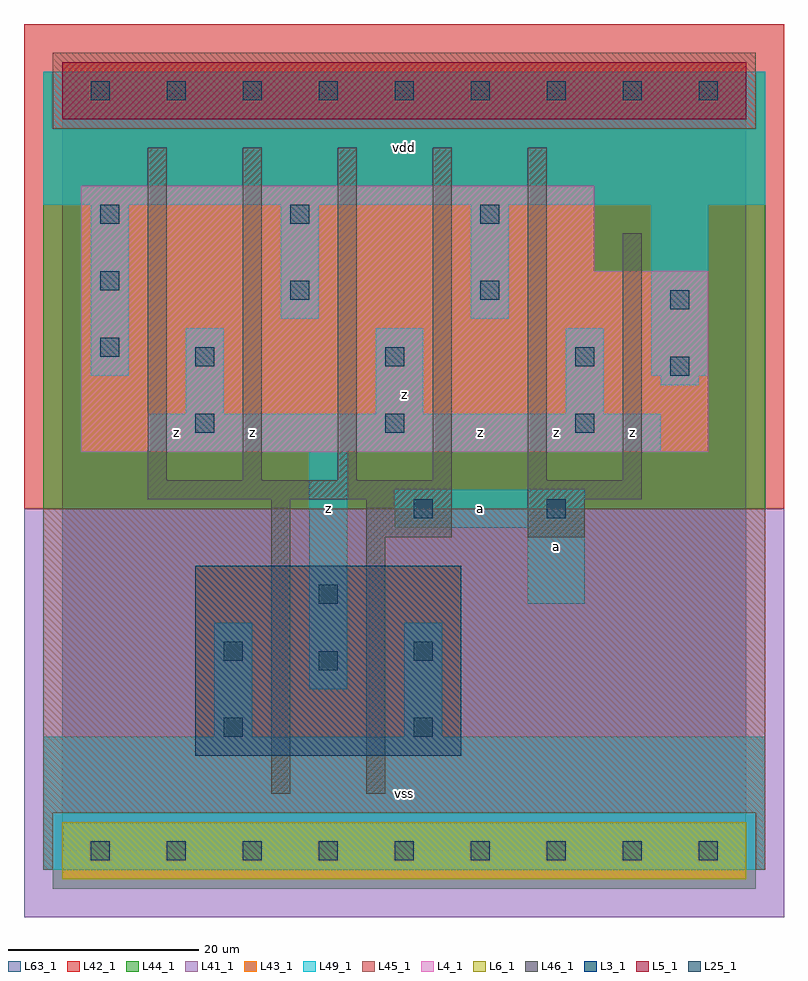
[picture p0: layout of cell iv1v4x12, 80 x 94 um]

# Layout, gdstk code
import gdstk
lib = gdstk.Library(unit=1e-6, precision=1e-09)
def R(c, l, rs):  # rectangles x0, y0, x1, y1
    for r in rs: c.add(gdstk.rectangle(r[:2], r[2:], *l))
def A(c, l, x, y, w, h, nx, ny, dx, dy):  # array of equal rectangles
    R(c, l, [(x+i*dx, y+j*dy, x+i*dx+w, y+j*dy+h) for i in range(nx) for j in range(ny)])
L3_1 = (3, 1)
L4_1 = (4, 1)
L5_1 = (5, 1)
L6_1 = (6, 1)
L25_1 = (25, 1)
L41_1 = (41, 1)
L42_1 = (42, 1)
L43_1 = (43, 1)
L44_1 = (44, 1)
L45_1 = (45, 1)
L46_1 = (46, 1)
L49_1 = (49, 1)
L63_1 = (63, 1)

iv1v4x12 = lib.new_cell('iv1v4x12')
R(iv1v4x12, L3_1, [(14,10,42,30)])
R(iv1v4x12, L4_1, [(2,42,68,61), (2,61,56,70)])
R(iv1v4x12, L5_1, [(0,77,72,83)])
R(iv1v4x12, L6_1, [(0,-3,72,3), (0,-3,72,3)])
A(iv1v4x12, L25_1, 3, -1, 2, 2, 9, 2, 8, 80)
A(iv1v4x12, L25_1, 14, 44, 2, 2, 3, 2, 20, 7)
A(iv1v4x12, L25_1, 4, 66, 2, 2, 3, 1, 20, 0)
R(iv1v4x12, L25_1, [(17,12,19,14), (37,12,39,14), (27,19,29,21), (17,20,19,22), (37,20,39,22), (27,26,29,28), (37,35,39,37), (51,35,53,37), (64,50,66,52), (4,52,6,54), (64,57,66,59), (24,58,26,60), (44,58,46,60), (4,59,6,61)])
R(iv1v4x12, L41_1, [(-4,-7,76,36)])
R(iv1v4x12, L42_1, [(-4,36,76,87)])
R(iv1v4x12, L43_1, [(0,-3,72,3), (14,10,42,30), (2,42,68,61), (2,61,56,70), (0,77,72,83)])
R(iv1v4x12, L44_1, [(-1,-4,73,4), (-2,36,74,76), (-2,76,-1,82), (73,76,74,82)])
R(iv1v4x12, L45_1, [(-2,-2,-1,4), (73,-2,74,4), (-2,4,74,36), (-1,76,73,84)])
A(iv1v4x12, L46_1, 9, 39, 2, 35, 5, 1, 10, 0)
R(iv1v4x12, L46_1, [(22,6,24,37), (32,6,34,33), (32,33,41,37), (49,33,55,37), (9,37,41,39), (49,37,61,39), (59,39,61,65)])
R(iv1v4x12, L49_1, [(-2,-2,74,12), (16,12,20,24), (36,12,40,24), (26,17,30,42), (49,26,55,34), (35,34,55,38), (9,42,63,46), (13,46,17,55), (33,46,38,55), (53,46,57,55), (63,49,67,50), (3,50,7,68), (62,50,68,68), (23,56,27,68), (43,56,47,68), (-2,68,74,82)])
R(iv1v4x12, L63_1, [(0,0,72,80)])
iv1v4x12.add(gdstk.Label('z', (12,44), layer=49, texttype=1))
iv1v4x12.add(gdstk.Label('z', (28,36), layer=49, texttype=1))
iv1v4x12.add(gdstk.Label('z', (20,44), layer=49, texttype=1))
iv1v4x12.add(gdstk.Label('vss', (36,6), layer=49, texttype=1))
iv1v4x12.add(gdstk.Label('a', (44,36), layer=49, texttype=1))
iv1v4x12.add(gdstk.Label('a', (52,32), layer=49, texttype=1))
iv1v4x12.add(gdstk.Label('z', (44,44), layer=49, texttype=1))
iv1v4x12.add(gdstk.Label('z', (52,44), layer=49, texttype=1))
iv1v4x12.add(gdstk.Label('z', (36,48), layer=49, texttype=1))
iv1v4x12.add(gdstk.Label('vdd', (36,74), layer=49, texttype=1))
iv1v4x12.add(gdstk.Label('z', (60,44), layer=49, texttype=1))

lib.write_gds('iv1v4x12.gds')
